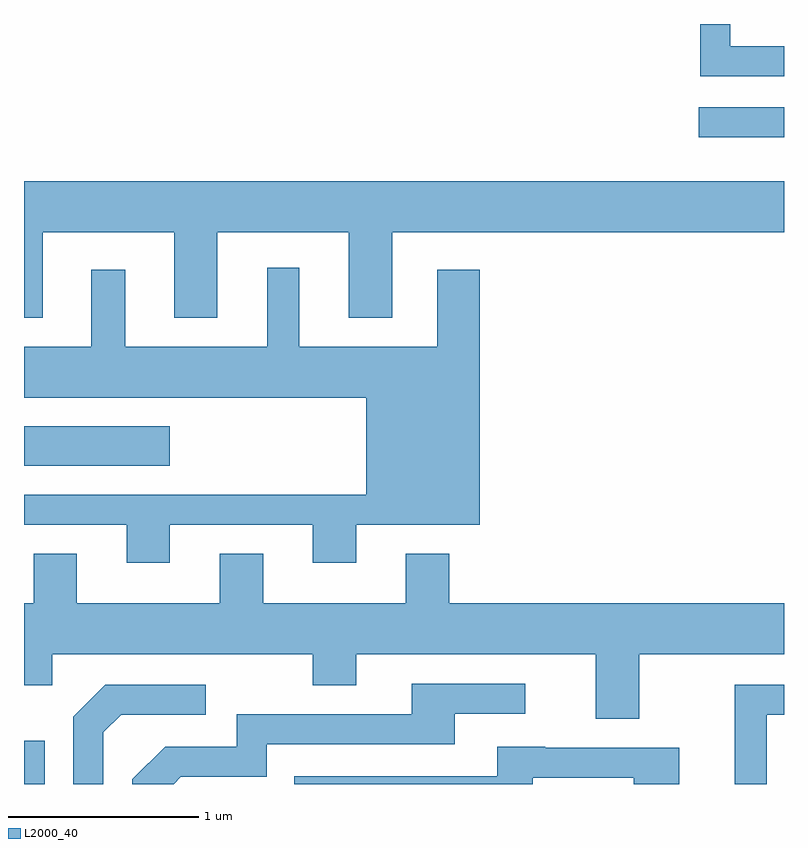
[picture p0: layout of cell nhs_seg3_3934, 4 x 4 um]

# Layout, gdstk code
import gdstk
lib = gdstk.Library(unit=1e-6, precision=1e-09)
def R(c, l, rs):  # rectangles x0, y0, x1, y1
    for r in rs: c.add(gdstk.rectangle(r[:2], r[2:], *l))
def P(c, l, *ps):  # polygons
    for p in ps: c.add(gdstk.Polygon(p, *l))
L2000_40 = (2000, 40)

nhs_seg3_3934 = lib.new_cell('nhs_seg3_3934')
R(nhs_seg3_3934, L2000_40, [(299.611,1231.892,299.719,1232.119), (299.611,1233.566,300.379,1233.774), (303.163,1235.296,303.611,1235.454)])
P(nhs_seg3_3934, L2000_40, [(303.611,1235.774),(303.329,1235.774),(303.329,1235.892),(303.171,1235.892),(303.171,1235.616),(303.611,1235.616)],
  [(299.709,1234.796),(300.401,1234.796),(300.401,1234.346),(300.629,1234.346),(300.629,1234.796),(301.321,1234.796),(301.321,1234.346),(301.549,1234.346),(301.549,1234.796),(303.611,1234.796),(303.611,1235.064),(299.611,1235.064),(299.611,1234.346),(299.709,1234.346)],
  [(300.379,1233.256),(301.131,1233.256),(301.131,1233.056),(301.359,1233.056),(301.359,1233.256),(302.009,1233.256),(302.009,1234.599),(301.786,1234.599),(301.786,1234.194),(301.059,1234.194),(301.059,1234.608),(300.891,1234.608),(300.891,1234.194),(300.144,1234.194),(300.144,1234.599),(299.966,1234.599),(299.966,1234.194),(299.611,1234.194),(299.611,1233.926),(301.411,1233.926),(301.411,1233.414),(299.611,1233.414),(299.611,1233.256),(300.151,1233.256),(300.151,1233.056),(300.379,1233.056)],
  [(302.849,1232.576),(303.611,1232.576),(303.611,1232.844),(301.849,1232.844),(301.849,1233.104),(301.621,1233.104),(301.621,1232.844),(300.869,1232.844),(300.869,1233.104),(300.641,1233.104),(300.641,1232.844),(299.889,1232.844),(299.889,1233.104),(299.661,1233.104),(299.661,1232.844),(299.611,1232.844),(299.611,1232.411),(299.759,1232.411),(299.759,1232.576),(301.131,1232.576),(301.131,1232.411),(301.359,1232.411),(301.359,1232.576),(302.621,1232.576),(302.621,1232.236),(302.849,1232.236)],
  [(300.437,1231.931),(300.889,1231.931),(300.889,1232.101),(301.879,1232.101),(301.879,1232.261),(302.248,1232.261),(302.248,1232.419),(301.651,1232.419),(301.651,1232.259),(300.731,1232.259),(300.731,1232.089),(300.354,1232.089),(300.181,1231.917),(300.181,1231.892),(300.398,1231.892)],
  [(303.519,1232.256),(303.611,1232.256),(303.611,1232.414),(303.351,1232.414),(303.351,1231.892),(303.519,1231.892)],
  [(300.029,1232.164),(300.122,1232.256),(300.568,1232.256),(300.568,1232.414),(300.039,1232.414),(299.871,1232.247),(299.871,1231.892),(300.029,1231.892)],
  [(302.289,1231.926),(302.821,1231.926),(302.821,1231.892),(303.059,1231.892),(303.059,1232.084),(302.355,1232.084),(302.355,1232.089),(302.101,1232.089),(302.101,1231.934),(301.033,1231.934),(301.033,1231.892),(302.289,1231.892)])

lib.write_gds('nhs_seg3_3934.gds')
